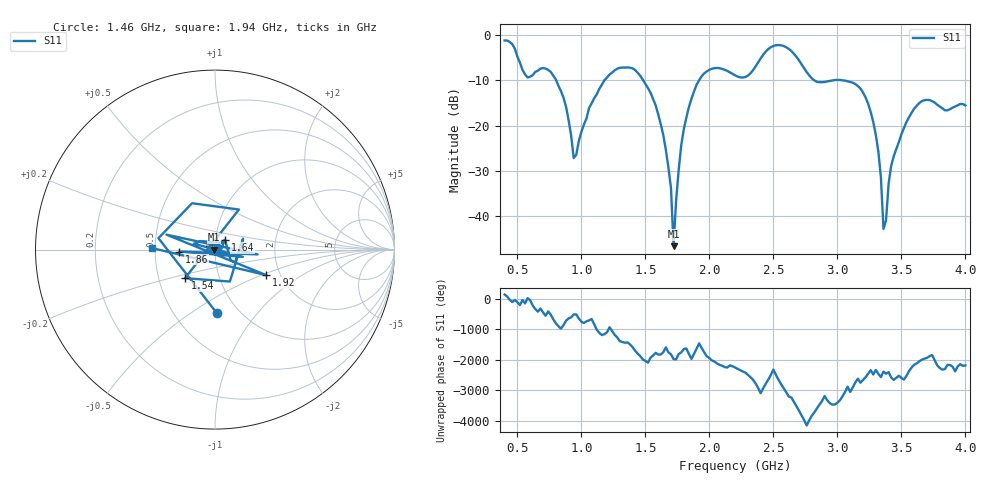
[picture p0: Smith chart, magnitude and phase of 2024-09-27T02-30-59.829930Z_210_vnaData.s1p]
!Created with skrf (http://scikit-rf.org).
# Hz S RI R 50.0
!freq ReS11 ImS11
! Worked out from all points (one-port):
!   181 points, 400 MHz to 4 GHz, reference 50 ohm
!   lowest |S11| = -46.6 dB at 1.72 GHz (marker M1), VSWR 1.01, Z = 49.5 + j0.019 ohm
!   |S11| at or under -10 dB: 803 MHz to 1.18 GHz (376.6 MHz wide, 38 % of centre); 1.483 GHz to 1.919 GHz (436.3 MHz wide, 25.6 % of centre); 3.038 GHz to end of sweep (the widest 3 of 4)
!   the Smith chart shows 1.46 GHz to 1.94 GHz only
!   S11 on the Smith chart (normalised r, x): 1.46 GHz: 0.79, -0.64; 1.54 GHz: 0.68, -0.23; 1.64 GHz: 1.11, +0.12; 1.86 GHz: 0.67, -0.02; 1.92 GHz: 1.69, -0.53; 1.94 GHz: 0.48, +0.01
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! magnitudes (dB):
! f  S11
! 400 MHz  -1.2
! 580 MHz  -9.4
! 720 MHz  -7.4
! 860 MHz  -13.8
! 940 MHz  -27.2
! 1.06 GHz  -16.1
! 1.3 GHz  -7.2
! 1.46 GHz  -9.0
! 1.54 GHz  -12.7
! 1.64 GHz  -22.1
! 1.7 GHz  -33.9
! 1.72 GHz  -46.6
! 1.76 GHz  -29.8
! 1.86 GHz  -14.1
! 1.92 GHz  -10.0
! 1.94 GHz  -9.1
! 2.2 GHz  -8.9
! 2.5 GHz  -2.4
! 2.66 GHz  -4.1
! 2.84 GHz  -10.3
! 3.1 GHz  -10.4
! 3.28 GHz  -19.2
! 3.34 GHz  -31.5
! 3.36 GHz  -42.8
! 3.42 GHz  -28.9
! 3.56 GHz  -18.1
! 3.68 GHz  -14.4
! 4 GHz  -15.6
